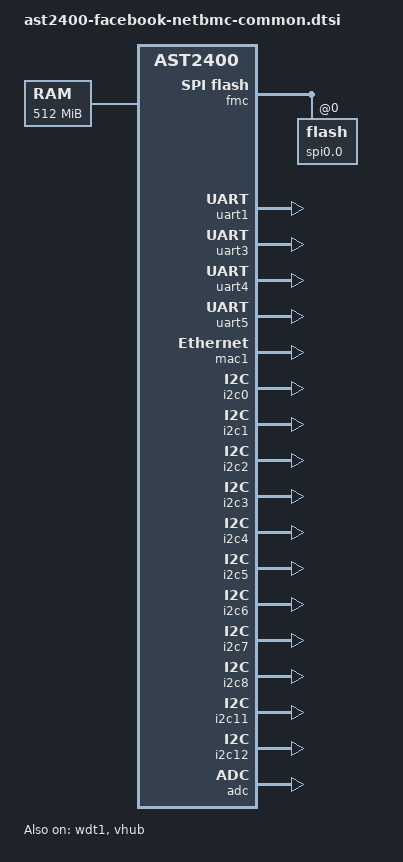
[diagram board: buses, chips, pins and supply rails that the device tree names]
// SPDX-License-Identifier: GPL-2.0+
// Copyright (c) 2020 Facebook Inc.
/dts-v1/;

#include "aspeed-g4.dtsi"

/ {
	aliases {
		/*
		 * Override the default uart aliases to avoid breaking
		 * the legacy applications.
		 */
		serial0 = &uart5;
		serial1 = &uart1;
		serial2 = &uart3;
		serial3 = &uart4;
	};

	memory@40000000 {
		reg = <0x40000000 0x20000000>;
	};
};

&wdt1 {
	status = "okay";
	aspeed,reset-type = "system";
};

&fmc {
	status = "okay";
	flash@0 {
		status = "okay";
		m25p,fast-read;
		label = "spi0.0";
#include "facebook-bmc-flash-layout.dtsi"
	};
};

&uart1 {
	status = "okay";
	pinctrl-names = "default";
	pinctrl-0 = <&pinctrl_txd1_default
		     &pinctrl_rxd1_default>;
};

&uart3 {
	status = "okay";
	pinctrl-names = "default";
	pinctrl-0 = <&pinctrl_txd3_default
		     &pinctrl_rxd3_default>;
};

&uart4 {
	status = "okay";
	pinctrl-names = "default";
	pinctrl-0 = <&pinctrl_txd4_default
		     &pinctrl_rxd4_default
		     &pinctrl_ndts4_default>;
};

&uart5 {
	status = "okay";
};

&mac1 {
	status = "okay";
	pinctrl-names = "default";
	pinctrl-0 = <&pinctrl_rgmii2_default &pinctrl_mdio2_default>;
};

&i2c0 {
	status = "okay";
};

&i2c1 {
	status = "okay";
};

&i2c2 {
	status = "okay";
};

&i2c3 {
	status = "okay";
};

&i2c4 {
	status = "okay";
};

&i2c5 {
	status = "okay";
};

&i2c6 {
	status = "okay";
};

&i2c7 {
	status = "okay";
};

&i2c8 {
	status = "okay";
};

&i2c11 {
	status = "okay";
};

&i2c12 {
	status = "okay";
};

&vhub {
	status = "okay";
};

&adc {
	status = "okay";
};
